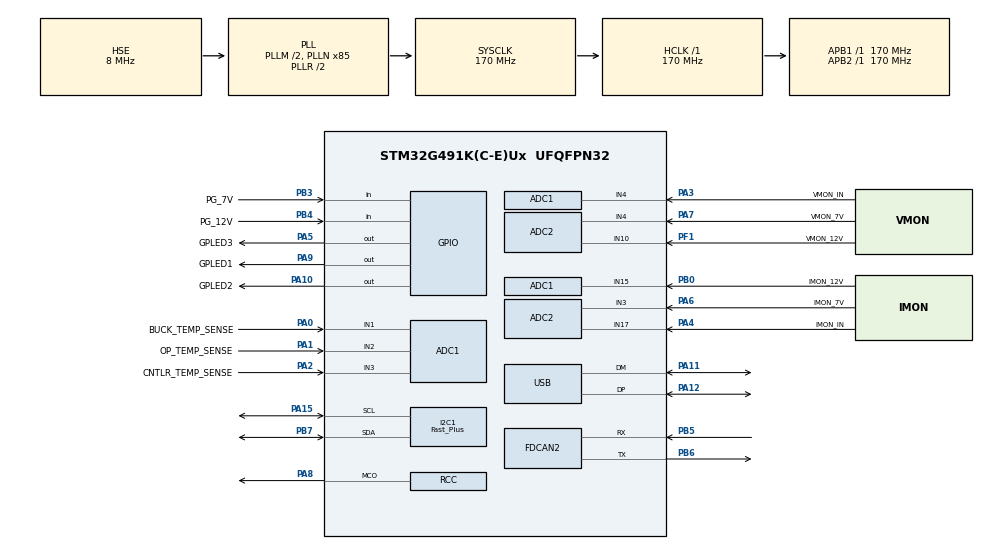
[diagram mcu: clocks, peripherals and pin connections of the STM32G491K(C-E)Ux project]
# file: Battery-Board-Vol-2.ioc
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ADC1.Channel-0\#ChannelRegularConversion=ADC_CHANNEL_1
ADC1.Channel-1\#ChannelRegularConversion=ADC_CHANNEL_3
ADC1.Channel-2\#ChannelRegularConversion=ADC_CHANNEL_15
ADC1.Channel-6\#ChannelRegularConversion=ADC_CHANNEL_4
ADC1.Channel-7\#ChannelRegularConversion=ADC_CHANNEL_15
ADC1.ClockPrescaler=ADC_CLOCK_ASYNC_DIV16
ADC1.ContinuousConvMode=ENABLE
ADC1.DMAContinuousRequests=ENABLE
ADC1.EOCSelection=ADC_EOC_SEQ_CONV
ADC1.NbrOfConversion=5
ADC1.NbrOfConversionFlag=1
ADC1.OffsetNumber-0\#ChannelRegularConversion=ADC_OFFSET_NONE
ADC1.OffsetNumber-1\#ChannelRegularConversion=ADC_OFFSET_NONE
ADC1.OffsetNumber-2\#ChannelRegularConversion=ADC_OFFSET_NONE
ADC1.OffsetNumber-6\#ChannelRegularConversion=ADC_OFFSET_NONE
ADC1.OffsetNumber-7\#ChannelRegularConversion=ADC_OFFSET_NONE
ADC1.Overrun=ADC_OVR_DATA_OVERWRITTEN
ADC1.Rank-0\#ChannelRegularConversion=1
ADC1.Rank-1\#ChannelRegularConversion=2
ADC1.Rank-2\#ChannelRegularConversion=3
ADC1.Rank-6\#ChannelRegularConversion=4
ADC1.Rank-7\#ChannelRegularConversion=5
ADC1.SamplingTime-0\#ChannelRegularConversion=ADC_SAMPLETIME_2CYCLES_5
ADC1.SamplingTime-1\#ChannelRegularConversion=ADC_SAMPLETIME_2CYCLES_5
ADC1.SamplingTime-2\#ChannelRegularConversion=ADC_SAMPLETIME_2CYCLES_5
ADC1.SamplingTime-6\#ChannelRegularConversion=ADC_SAMPLETIME_2CYCLES_5
ADC1.SamplingTime-7\#ChannelRegularConversion=ADC_SAMPLETIME_2CYCLES_5
ADC1.master=1
ADC2.Channel-0\#ChannelRegularConversion=ADC_CHANNEL_3
ADC2.Channel-1\#ChannelRegularConversion=ADC_CHANNEL_4
ADC2.Channel-2\#ChannelRegularConversion=ADC_CHANNEL_10
ADC2.Channel-3\#ChannelRegularConversion=ADC_CHANNEL_17
ADC2.ClockPrescaler=ADC_CLOCK_ASYNC_DIV16
ADC2.ContinuousConvMode=ENABLE
ADC2.DMAContinuousRequests=ENABLE
ADC2.EOCSelection=ADC_EOC_SEQ_CONV
ADC2.NbrOfConversion=4
ADC2.NbrOfConversionFlag=1
ADC2.OffsetNumber-0\#ChannelRegularConversion=ADC_OFFSET_NONE
ADC2.OffsetNumber-1\#ChannelRegularConversion=ADC_OFFSET_NONE
ADC2.OffsetNumber-2\#ChannelRegularConversion=ADC_OFFSET_NONE
ADC2.OffsetNumber-3\#ChannelRegularConversion=ADC_OFFSET_NONE
ADC2.Overrun=ADC_OVR_DATA_OVERWRITTEN
ADC2.Rank-0\#ChannelRegularConversion=1
ADC2.Rank-1\#ChannelRegularConversion=2
ADC2.Rank-2\#ChannelRegularConversion=3
ADC2.Rank-3\#ChannelRegularConversion=4
ADC2.SamplingTime-0\#ChannelRegularConversion=ADC_SAMPLETIME_2CYCLES_5
ADC2.SamplingTime-1\#ChannelRegularConversion=ADC_SAMPLETIME_2CYCLES_5
ADC2.SamplingTime-2\#ChannelRegularConversion=ADC_SAMPLETIME_2CYCLES_5
ADC2.SamplingTime-3\#ChannelRegularConversion=ADC_SAMPLETIME_2CYCLES_5
Dma.ADC1.0.Direction=DMA_PERIPH_TO_MEMORY
Dma.ADC1.0.EventEnable=DISABLE
Dma.ADC1.0.Instance=DMA1_Channel1
Dma.ADC1.0.MemDataAlignment=DMA_MDATAALIGN_WORD
Dma.ADC1.0.MemInc=DMA_MINC_ENABLE
Dma.ADC1.0.Mode=DMA_CIRCULAR
Dma.ADC1.0.PeriphDataAlignment=DMA_PDATAALIGN_WORD
Dma.ADC1.0.PeriphInc=DMA_PINC_DISABLE
Dma.ADC1.0.Polarity=HAL_DMAMUX_REQ_GEN_RISING
Dma.ADC1.0.Priority=DMA_PRIORITY_LOW
Dma.ADC1.0.RequestNumber=1
Dma.ADC1.0.SignalID=NONE
Dma.ADC1.0.SyncEnable=DISABLE
Dma.ADC1.0.SyncPolarity=HAL_DMAMUX_SYNC_NO_EVENT
Dma.ADC1.0.SyncRequestNumber=1
Dma.ADC1.0.SyncSignalID=NONE
Dma.ADC2.1.Direction=DMA_PERIPH_TO_MEMORY
Dma.ADC2.1.EventEnable=DISABLE
Dma.ADC2.1.Instance=DMA1_Channel2
Dma.ADC2.1.MemDataAlignment=DMA_MDATAALIGN_WORD
Dma.ADC2.1.MemInc=DMA_MINC_ENABLE
Dma.ADC2.1.Mode=DMA_CIRCULAR
Dma.ADC2.1.PeriphDataAlignment=DMA_PDATAALIGN_WORD
Dma.ADC2.1.PeriphInc=DMA_PINC_DISABLE
Dma.ADC2.1.Polarity=HAL_DMAMUX_REQ_GEN_RISING
Dma.ADC2.1.Priority=DMA_PRIORITY_LOW
Dma.ADC2.1.RequestNumber=1
Dma.ADC2.1.SignalID=NONE
Dma.ADC2.1.SyncEnable=DISABLE
Dma.ADC2.1.SyncPolarity=HAL_DMAMUX_SYNC_NO_EVENT
Dma.ADC2.1.SyncRequestNumber=1
Dma.ADC2.1.SyncSignalID=NONE
Dma.Request0=ADC1
Dma.Request1=ADC2
FDCAN2.CalculateBaudRateNominal=1000000
FDCAN2.CalculateTimeBitNominal=1000
FDCAN2.CalculateTimeQuantumNominal=125.0
FDCAN2.DataTimeSeg2=2
FDCAN2.NominalPrescaler=1
FDCAN2.NominalSyncJumpWidth=2
FDCAN2.NominalTimeSeg1=5
FDCAN2.NominalTimeSeg2=2
FDCAN2.StdFiltersNbr=1
FREERTOS.Queues01=canQueRxHeader,512,uint32_t,0,Static,canQueRXHeaderBuffer,canQueRXHeaderControlBlock;canQueRxData,512,uint8_t,0,Static,canQueRXDataBuffer,canQueRXDataControlBlock
FREERTOS.Tasks01=defaultTask,24,512,StartDefaultTask,Default,NULL,Static,defaultTaskBuffer,defaultTaskControlBlock;canReceive,32,512,StartTaskReceive,Default,NULL,Static,canReceiveBuffer,canReceiveControlBlock;canSend,25,512,StartTaskSend,Default,NULL,Static,canSendBuffer,canSendControlBlock
FREERTOS.configENABLE_FPU=1
I2C1.I2C_Speed_Mode=I2C_Fast_Plus
I2C1.Timing=0x4052060F
Mcu.Family=STM32G4
Mcu.Name=STM32G491K(C-E)Ux
Mcu.Package=UFQFPN32
NVIC.FDCAN2_IT0_IRQn=true\:5\:0\:false\:false\:true\:true\:true\:true\:true
NVIC.FDCAN2_IT1_IRQn=true\:5\:0\:false\:false\:true\:true\:true\:true\:true
NVIC.I2C1_ER_IRQn=true\:5\:0\:false\:false\:true\:true\:true\:true\:true
NVIC.I2C1_EV_IRQn=true\:5\:0\:false\:false\:true\:true\:true\:true\:true
NVIC.PriorityGroup=NVIC_PRIORITYGROUP_4
NVIC.TIM20_UP_IRQn=true\:15\:0\:false\:false\:true\:false\:false\:true\:true
NVIC.TimeBase=TIM20_UP_IRQn
NVIC.TimeBaseIP=TIM20
NVIC.USB_LP_IRQn=true\:5\:0\:false\:false\:true\:true\:false\:true\:true
PA0.GPIO_Label=BUCK_TEMP_SENSE
PA0.Mode=IN1-Single-Ended
PA0.Signal=ADC1_IN1
PA1.GPIO_Label=OP_TEMP_SENSE
PA1.Mode=IN2-Single-Ended
PA1.Signal=ADC1_IN2
PA10.GPIO_Label=GPLED2
PA10.Signal=GPIO_Output
PA11.Mode=Device
PA11.Signal=USB_DM
PA12.Mode=Device
PA12.Signal=USB_DP
PA13.Mode=Serial_Wire
PA13.Signal=SYS_JTMS-SWDIO
PA14.Mode=Serial_Wire
PA14.Signal=SYS_JTCK-SWCLK
PA15.Mode=I2C
PA15.Signal=I2C1_SCL
PA2.GPIO_Label=CNTLR_TEMP_SENSE
PA2.Mode=IN3-Single-Ended
PA2.Signal=ADC1_IN3
PA3.GPIO_Label=VMON_IN
PA3.Mode=IN4-Single-Ended
PA3.Signal=ADC1_IN4
PA4.GPIO_Label=IMON_IN
PA4.Mode=IN17-Single-Ended
PA4.Signal=ADC2_IN17
PA5.GPIO_Label=GPLED3
PA5.Signal=GPIO_Output
PA6.GPIO_Label=IMON_7V
PA6.Mode=IN3-Single-Ended
PA6.Signal=ADC2_IN3
PA7.GPIO_Label=VMON_7V
PA7.Mode=IN4-Single-Ended
PA7.Signal=ADC2_IN4
PA8.Mode=Clock-out
PA8.Signal=RCC_MCO
PA9.GPIO_Label=GPLED1
PA9.Signal=GPIO_Output
PB0.GPIO_Label=IMON_12V
PB0.Mode=IN15-Single-Ended
PB0.Signal=ADC1_IN15
PB3.GPIO_Label=PG_7V
PB3.Signal=GPIO_Input
PB4.GPIO_Label=PG_12V
PB4.Signal=GPIO_Input
PB5.GPIO_PuPd=GPIO_PULLUP
PB5.Mode=FDCAN_Activate
PB5.Signal=FDCAN2_RX
PB6.Mode=FDCAN_Activate
PB6.Signal=FDCAN2_TX
PB7.Mode=I2C
PB7.Signal=I2C1_SDA
PF0-OSC_IN.Mode=HSE-External-Clock-Source
PF0-OSC_IN.Signal=RCC_OSC_IN
PF1-OSC_OUT.GPIO_Label=VMON_12V
PF1-OSC_OUT.Mode=IN10-Single-Ended
PF1-OSC_OUT.Signal=ADC2_IN10
ProjectManager.HeapSize=0x200
ProjectManager.StackSize=0x400
ProjectManager.TargetToolchain=STM32CubeIDE
RCC.ADC12Freq_Value=170000000
RCC.ADC345Freq_Value=170000000
RCC.AHBFreq_Value=170000000
RCC.APB1Freq_Value=170000000
RCC.APB1TimFreq_Value=170000000
RCC.APB2Freq_Value=170000000
RCC.APB2TimFreq_Value=170000000
RCC.CortexFreq_Value=170000000
RCC.EXTERNAL_CLOCK_VALUE=12288000
RCC.FDCANCLockSelection=RCC_FDCANCLKSOURCE_HSE
RCC.HCLKFreq_Value=170000000
RCC.HSE_VALUE=8000000
RCC.HSI48_VALUE=48000000
RCC.HSI_VALUE=16000000
RCC.LSE_VALUE=32768
RCC.LockedElements=AHBOutput
RCC.PLLM=RCC_PLLM_DIV2
RCC.PLLN=85
RCC.PLLSourceVirtual=RCC_PLLSOURCE_HSE
RCC.SYSCLKFreq_VALUE=170000000
RCC.SYSCLKSource=RCC_SYSCLKSOURCE_PLLCLK
RCC.VCOOutputFreq_Value=340000000
USB_DEVICE.CLASS_NAME_FS=CDC
USB_DEVICE.VirtualMode=Cdc
USB_DEVICE.VirtualModeFS=Cdc_FS
VP_FREERTOS_VS_CMSIS_V2.Mode=CMSIS_V2
VP_SYS_VS_DBSignals.Mode=DisableDeadBatterySignals
VP_SYS_VS_tim20.Mode=TIM20
VP_USB_DEVICE_VS_USB_DEVICE_CDC_FS.Mode=CDC_FS
board=custom

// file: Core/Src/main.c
/* USER CODE BEGIN Header */
/**
 ******************************************************************************
 * @file           : main.c
 * @brief          : Main program body
 ******************************************************************************
 * @attention
 *
 * Copyright (c) 2025 STMicroelectronics.
 * All rights reserved.
 *
 * This software is licensed under terms that can be found in the LICENSE file
 * in the root directory of this software component.
 * If no LICENSE file comes with this software, it is provided AS-IS.
 *
 ******************************************************************************
 */
/* USER CODE END Header */
#include "main.h"
#include "cmsis_os.h"
#include "adc.h"
#include "dma.h"
#include "fdcan.h"
#include "i2c.h"
#include "gpio.h"

/* USER CODE BEGIN Includes */

#include "ssd1306.h"
#include "ssd1306_tests.h"
#include "ssd1306_fonts.h"
#include "ecocar_can.h"
//#include "usb_device.h"  // Add this line to include the USB device header
//#include "usbd_cdc_if.h" // Add this line to include the USB device header
#include <string.h>
#include <stdbool.h>
/* USER CODE END Includes */

void SystemClock_Config(void);
void MX_FREERTOS_Init(void);

int main(void)
{

  /* MCU Configuration--------------------------------------------------------*/

  /* Reset of all peripherals, Initializes the Flash interface and the Systick. */
  HAL_Init();

  /* Configure the system clock */
  SystemClock_Config();

  /* Initialize all configured peripherals */
  MX_GPIO_Init();
  MX_DMA_Init();
  MX_ADC1_Init();
  MX_ADC2_Init();
  MX_FDCAN2_Init();
  MX_I2C1_Init();

  /* Init scheduler */
  osKernelInitialize();

  /* Call init function for freertos objects (in cmsis_os2.c) */
  MX_FREERTOS_Init();

  /* Start scheduler */
  osKernelStart();

  /* We should never get here as control is now taken by the scheduler */

  /* Infinite loop */
	while (1) {

	}
}

void SystemClock_Config(void)
{
  RCC_OscInitTypeDef RCC_OscInitStruct = {0};
  RCC_ClkInitTypeDef RCC_ClkInitStruct = {0};

  /** Configure the main internal regulator output voltage
  */
  HAL_PWREx_ControlVoltageScaling(PWR_REGULATOR_VOLTAGE_SCALE1_BOOST);

  /** Initializes the RCC Oscillators according to the specified parameters
  * in the RCC_OscInitTypeDef structure.
  */
  RCC_OscInitStruct.OscillatorType = RCC_OSCILLATORTYPE_HSI|RCC_OSCILLATORTYPE_HSE;
  RCC_OscInitStruct.HSEState = RCC_HSE_BYPASS;
  RCC_OscInitStruct.HSIState = RCC_HSI_ON;
  RCC_OscInitStruct.HSICalibrationValue = RCC_HSICALIBRATION_DEFAULT;
  RCC_OscInitStruct.PLL.PLLState = RCC_PLL_ON;
  RCC_OscInitStruct.PLL.PLLSource = RCC_PLLSOURCE_HSE;
  RCC_OscInitStruct.PLL.PLLM = RCC_PLLM_DIV2;
  RCC_OscInitStruct.PLL.PLLN = 85;
  RCC_OscInitStruct.PLL.PLLP = RCC_PLLP_DIV2;
  RCC_OscInitStruct.PLL.PLLQ = RCC_PLLQ_DIV2;
  RCC_OscInitStruct.PLL.PLLR = RCC_PLLR_DIV2;
  if (HAL_RCC_OscConfig(&RCC_OscInitStruct) != HAL_OK)
  {
    Error_Handler();
  }

  /** Initializes the CPU, AHB and APB buses clocks
  */
  RCC_ClkInitStruct.ClockType = RCC_CLOCKTYPE_HCLK|RCC_CLOCKTYPE_SYSCLK
                              |RCC_CLOCKTYPE_PCLK1|RCC_CLOCKTYPE_PCLK2;
  RCC_ClkInitStruct.SYSCLKSource = RCC_SYSCLKSOURCE_PLLCLK;
  RCC_ClkInitStruct.AHBCLKDivider = RCC_SYSCLK_DIV1;
  RCC_ClkInitStruct.APB1CLKDivider = RCC_HCLK_DIV1;
  RCC_ClkInitStruct.APB2CLKDivider = RCC_HCLK_DIV1;

  if (HAL_RCC_ClockConfig(&RCC_ClkInitStruct, FLASH_LATENCY_4) != HAL_OK)
  {
    Error_Handler();
  }
  HAL_RCC_MCOConfig(RCC_MCO1, RCC_MCO1SOURCE_HSI, RCC_MCODIV_1);
}

void HAL_TIM_PeriodElapsedCallback(TIM_HandleTypeDef *htim)
{
  if (htim->Instance == TIM20) {
    HAL_IncTick();
  }
}

void Error_Handler(void)
{
	__disable_irq();
	while (1) {
	}
}

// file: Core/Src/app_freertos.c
/* USER CODE BEGIN Header */
/**
 ******************************************************************************
 * File Name          : app_freertos.c
 * Description        : Code for freertos applications
 ******************************************************************************
 * @attention
 *
 * Copyright (c) 2025 STMicroelectronics.
 * All rights reserved.
 *
 * This software is licensed under terms that can be found in the LICENSE file
 * in the root directory of this software component.
 * If no LICENSE file comes with this software, it is provided AS-IS.
 *
 ******************************************************************************
 */
/* USER CODE END Header */

#include "FreeRTOS.h"
#include "task.h"
#include "main.h"
#include "cmsis_os.h"

/* USER CODE BEGIN Includes */
#include "adc.h"
#include "ssd1306.h"
#include "ssd1306_tests.h"
#include "ssd1306_fonts.h"
#include "ecocar_can.h"
#include "i2c.h"
//#include "usb_device.h"  // Add this line to include the USB device header
//#include "usbd_cdc_if.h" // Add this line to include the USB device header
#include <string.h>
#include <stdbool.h>
#include <stdio.h>

/* USER CODE END Includes */

typedef StaticTask_t osStaticThreadDef_t;
typedef StaticQueue_t osStaticMessageQDef_t;

/* USER CODE BEGIN Variables */
uint32_t adc1_results[5] = { 0 };
uint32_t adc2_results[4] = { 0 };
const float RESOLUTION = 4096.0;
const float ref_voltage = 3.3;
int h2_state = 0;

/* USER CODE END Variables */
/* Definitions for defaultTask */
osThreadId_t defaultTaskHandle;
uint32_t defaultTaskBuffer[ 1024 ];
osStaticThreadDef_t defaultTaskControlBlock;
const osThreadAttr_t defaultTask_attributes = {
  .name = "defaultTask",
  .stack_mem = &defaultTaskBuffer[0],
  .stack_size = sizeof(defaultTaskBuffer),
  .cb_mem = &defaultTaskControlBlock,
  .cb_size = sizeof(defaultTaskControlBlock),
  .priority = (osPriority_t) osPriorityNormal,
};
/* Definitions for canReceive */
osThreadId_t canReceiveHandle;
uint32_t canReceiveBuffer[ 512 ];
osStaticThreadDef_t canReceiveControlBlock;
const osThreadAttr_t canReceive_attributes = {
  .name = "canReceive",
  .stack_mem = &canReceiveBuffer[0],
  .stack_size = sizeof(canReceiveBuffer),
  .cb_mem = &canReceiveControlBlock,
  .cb_size = sizeof(canReceiveControlBlock),
  .priority = (osPriority_t) osPriorityAboveNormal,
};
/* Definitions for canSend */
osThreadId_t canSendHandle;
uint32_t canSendBuffer[ 512 ];
osStaticThreadDef_t canSendControlBlock;
const osThreadAttr_t canSend_attributes = {
  .name = "canSend",
  .stack_mem = &canSendBuffer[0],
  .stack_size = sizeof(canSendBuffer),
  .cb_mem = &canSendControlBlock,
  .cb_size = sizeof(canSendControlBlock),
  .priority = (osPriority_t) osPriorityNormal1,
};
/* Definitions for canQueRxHeader */
osMessageQueueId_t canQueRxHeaderHandle;
uint8_t canQueRXHeaderBuffer[ 512 * sizeof( uint32_t ) ];
osStaticMessageQDef_t canQueRXHeaderControlBlock;
const osMessageQueueAttr_t canQueRxHeader_attributes = {
  .name = "canQueRxHeader",
  .cb_mem = &canQueRXHeaderControlBlock,
  .cb_size = sizeof(canQueRXHeaderControlBlock),
  .mq_mem = &canQueRXHeaderBuffer,
  .mq_size = sizeof(canQueRXHeaderBuffer)
};
/* Definitions for canQueRxData */
osMessageQueueId_t canQueRxDataHandle;
uint8_t canQueRXDataBuffer[ 512 * sizeof( uint8_t ) ];
osStaticMessageQDef_t canQueRXDataControlBlock;
const osMessageQueueAttr_t canQueRxData_attributes = {
  .name = "canQueRxData",
  .cb_mem = &canQueRXDataControlBlock,
  .cb_size = sizeof(canQueRXDataControlBlock),
  .mq_mem = &canQueRXDataBuffer,
  .mq_size = sizeof(canQueRXDataBuffer)
};

/* USER CODE BEGIN FunctionPrototypes */
void HAL_FDCAN_RxFifo0Callback(FDCAN_HandleTypeDef *hfdcan, uint32_t RxFifo0ITs) {
	FDCAN_RxHeaderTypeDef RxHeader;
	uint8_t RxData[64];
	if ((RxFifo0ITs & FDCAN_IT_RX_FIFO0_NEW_MESSAGE) != RESET) {
		/* Retrieve Rx messages from RX FIFO0 */
		if (HAL_FDCAN_GetRxMessage(hfdcan, FDCAN_RX_FIFO0, &RxHeader, RxData)
				!= HAL_OK) {
			/* Reception Error */
			Error_Handler();
		}
		if (osMessageQueuePut(canQueRxHeaderHandle, &RxHeader.Identifier, 0, 0)
				!= osOK
				|| osMessageQueuePut(canQueRxHeaderHandle, &RxHeader.DataLength,
						0, 0) != osOK) {
			Error_Handler();
		}
		for (uint32_t i = 0; i < mapDlcToBytes(RxHeader.DataLength); i++) {
			if (osMessageQueuePut(canQueRxDataHandle, &RxData[i], 0, 0)
					!= osOK) {
				Error_Handler();
			}
		}
	}
}
/* USER CODE END FunctionPrototypes */

void StartDefaultTask(void *argument);
void StartTaskReceive(void *argument);
void StartTaskSend(void *argument);

void MX_FREERTOS_Init(void); /* (MISRA C 2004 rule 8.1) */

void MX_FREERTOS_Init(void) {

  /* Create the queue(s) */
  /* creation of canQueRxHeader */
  canQueRxHeaderHandle = osMessageQueueNew (512, sizeof(uint32_t), &canQueRxHeader_attributes);

  /* creation of canQueRxData */
  canQueRxDataHandle = osMessageQueueNew (512, sizeof(uint8_t), &canQueRxData_attributes);

  /* Create the thread(s) */
  /* creation of defaultTask */
  defaultTaskHandle = osThreadNew(StartDefaultTask, NULL, &defaultTask_attributes);

  /* creation of canReceive */
  canReceiveHandle = osThreadNew(StartTaskReceive, NULL, &canReceive_attributes);

  /* creation of canSend */
  canSendHandle = osThreadNew(StartTaskSend, NULL, &canSend_attributes);

}

void StartDefaultTask(void *argument)
{
  /* init code for USB_Device */
  MX_USB_Device_Init();
  /* USER CODE BEGIN StartDefaultTask */
	/* Infinite loop */

	// Calibrate and start the leds

	HAL_ADCEx_Calibration_Start(&hadc1, ADC_SINGLE_ENDED);
	HAL_ADC_Start_DMA(&hadc1, &adc1_results, 5);

	HAL_ADCEx_Calibration_Start(&hadc2, ADC_SINGLE_ENDED);
	HAL_ADC_Start_DMA(&hadc2, &adc2_results, 4);

	// Init the screen
	ssd1306_Init();
	//Temperature sensors data
	struct TemperatureSensor {
		float voltage;
		float temperature;
	};
	//initialize each temperature sensors
	struct TemperatureSensor Buc;
	struct TemperatureSensor Op;
	struct TemperatureSensor Cntrl;
	float Battery_Input_Voltage;
	float Battery_Input_Current;
	float Volt_Output_12V;
	float Curr_Output_12V;
	float Volt_Output_7V;
	float Curr_Output_7V;

	for (;;) {

		 Buc.voltage = ((adc1_results[0] * ref_voltage) / RESOLUTION) +0.193;  //buc voltage
		 Op.voltage  = ((adc1_results[1] * ref_voltage) /  RESOLUTION) +0.13; //op voltage
		 Cntrl.voltage = (((adc1_results[2] * ref_voltage) / RESOLUTION)+0.23); //cntrl voltage
		 Battery_Input_Voltage = adc1_results[3] * ref_voltage / RESOLUTION / 0.0909 ; // VOltage divider: R2 = 4.7k R1 = 47K
		 Battery_Input_Current = (adc2_results[3] * ref_voltage / RESOLUTION - 2.5) / 0.400;
		 Volt_Output_12V = (adc2_results[2] * ref_voltage / RESOLUTION) / 0.2655; // Voltage Divider R2: 4.7k R1 = 13k
		 Curr_Output_12V = (adc1_results[4] * ref_voltage / RESOLUTION - 2.5) / 0.400;
		 Volt_Output_7V =  (adc2_results[1] * ref_voltage / RESOLUTION) / (4.7/17.7); // VOltage Divider R2:4.7k R1: 13k
		 Curr_Output_7V =  (adc2_results[0] * ref_voltage / RESOLUTION - 2.5) / 0.400; // VOltage Divider R2:4.7k R1: 13k

		Buc.temperature = (Buc.voltage - 0.5) / 0.01;  //buc temp
		Op.temperature =  (Op.voltage - 0.5) /  0.01;  //op temp
		Cntrl.temperature = (Cntrl.voltage - 0.5) / 0.01; //cntrl temp
		float Batt_Input = Battery_Input_Voltage ; // Batter Input Volt
		float Batt_Current = Battery_Input_Current ; // Battery Input Current
		float Output_12V = Volt_Output_12V ; // 12 Volt Output
		float Output_12V_Curr = Curr_Output_12V ;
		float Output_7V = Volt_Output_7V ; // 7 Volt Output
		float Output_7V_Curr = Curr_Output_7V ;

	    printf(
	             "BATT CURR: %.2f BATT VOLT: %.3f 12V VOLT: %.2f 12V CURR: %.2f 7V VOLT: %.2f 7V CURR: %.2f \r\n",
				 Batt_Input,
				 Batt_Current,
				 Output_12V,
				 Output_12V_Curr,
				 Output_7V,
				 Output_7V_Curr

	    );
	    char common_buffer[64] = {0};

		//char batt_volt[100];
		//char batt_current[100];
		//char output_12V [100];
		//char output_curr_12V [100];
		//char output_7V [100];
		//char output_curr_7V [100];
		//char buc_temp_V[100];
		//char op_temp_V[100];
		//char cntrl_temp_V[100];
/*
		sprintf(buc_temp, "BUCK T:%.2f C", Buc_temp); //
		sprintf(op_temp, "OP T: %.2f C", Op_temp);
		sprintf(cntrl_temp, "CNTRL T: %.2f C", Cntrl_temp);
		sprintf(batt_volt, "Batt Volt: %.2f V", Batt_Input);
		sprintf(batt_current, "Batt Curr: %.2f A", Batt_Current);
		sprintf(output_12V, "12V Out: %.2f V", Output_12V);
		sprintf(output_curr_12V, "12V Out: %.2f A", Output_12V_Curr);
		sprintf(output_7V, "7V Out: %.2f V", Output_7V);
		sprintf(output_curr_7V, "7V Out: %.2f A", Output_7V_Curr);
		sprintf(buc_temp_V, "BUCK V:%.2f V", Buc_temp_sense_Voltage);
		sprintf(op_temp_V, "OP V: %.2f V", Op_temp_sense_Voltage);
		sprintf(cntrl_temp_V, "CNTRL V: %.2f V", Cntrl_temp_sense_Voltage);
*/
		sprintf(common_buffer,"BUCK T:%.2f C", Buc.temperature ); //buck temp
		ssd1306_SetCursor(2, 0);
		ssd1306_WriteString(common_buffer, Font_6x8 , White);

		ssd1306_SetCursor(2, 10);
		sprintf(common_buffer,"OP T: %.2f C", Op.temperature);  //cntrl temp
		ssd1306_WriteString(common_buffer, Font_6x8, White);

		ssd1306_SetCursor(2, 20);
		sprintf(common_buffer,"CNTRL T: %.2f C", Cntrl.temperature);  //cntrl temp
		ssd1306_WriteString(common_buffer, Font_6x8, White);

		ssd1306_SetCursor(2, 30);
		sprintf(common_buffer,"Batt Volt: %.2f V", Batt_Input );
		ssd1306_WriteString(common_buffer, Font_6x8, White);

		ssd1306_SetCursor(2, 40);
		sprintf(common_buffer, "Batt Curr: %.2f A", Batt_Current);
		ssd1306_WriteString(common_buffer, Font_6x8, White);

		if (h2_state == 1) {
			//ssd1306_Reset();
		char h2_alarm_message[64] = {0};
		sprintf(h2_alarm_message, "H2 TRIGGERED");
		ssd1306_SetCursor(2, 20);
		ssd1306_WriteString(h2_alarm_message, Font_16x15, 1);

		}

		ssd1306_UpdateScreen();
		osDelay(1);
	}
  /* USER CODE END StartDefaultTask */
}

void StartTaskReceive(void *argument)
{
  /* USER CODE BEGIN StartTaskReceive */
	FDCAN_RxHeaderTypeDef localRxHeader = { 0 };
	uint8_t ret[64] = { 0 };

	for (;;) {
		if (osMessageQueueGet(canQueRxHeaderHandle, &localRxHeader.Identifier,
				0,
				osWaitForever) == osOK) {

			if (osMessageQueueGet(canQueRxHeaderHandle,
					&localRxHeader.DataLength, 0, 0) != osOK) {
				Error_Handler();
			}

			for (uint8_t i = 0; i < mapDlcToBytes(localRxHeader.DataLength);
					i++) {
				if (osMessageQueueGet(canQueRxDataHandle, &ret[i], 0, 0)
						!= osOK) {
					Error_Handler();
				}
			}

			switch (localRxHeader.Identifier) {
			case FDCAN_H2ALARM_ID:
				// H2 ALARM
				if (ret[0] == 1) {
					h2_state = 1;
					// Do something?
				}
				break;
			case FDCAN_SYNCLED_ID:
				// CAN SYNC LED
				//HAL_GPIO_WritePin(GPLED1_GPIO_Port, GPLED1_Pin, ret[0] ? GPIO_PIN_SET : GPIO_PIN_RESET);
				HAL_GPIO_WritePin(GPLED2_GPIO_Port, GPLED2_Pin, ret[0] ? GPIO_PIN_SET : GPIO_PIN_RESET);
				//HAL_GPIO_WritePin(GPLED3_GPIO_Port, GPLED3_Pin, ret[0] ? GPIO_PIN_SET : GPIO_PIN_RESET);
			default:
				//log_info("Received CANID 0x%x but did nothing with it!",
				//		localRxHeader.Identifier);
				break;
			}

		} else {
			//log_err("Something strange is happening!");
		}
	}
  /* USER CODE END StartTaskReceive */
}

void StartTaskSend(void *argument)
{
  /* USER CODE BEGIN StartTaskSend */

	UNUSED(argument);
	FDCAN_TxHeaderTypeDef localTxHeader;
	const uint8_t msg_delay = 100;

	localTxHeader.IdType = FDCAN_STANDARD_ID;
	localTxHeader.TxFrameType = FDCAN_DATA_FRAME;
	localTxHeader.ErrorStateIndicator = FDCAN_ESI_ACTIVE;
	localTxHeader.BitRateSwitch = FDCAN_BRS_ON;
	localTxHeader.FDFormat = FDCAN_CLASSIC_CAN;
	localTxHeader.TxEventFifoControl = FDCAN_NO_TX_EVENTS;
	localTxHeader.MessageMarker = 0;
	/* Infinite loop */
	for (;;) {
		// Transmit boost data
//		localTxHeader.Identifier = FDCAN_BOOSTPACK_ID;
//		localTxHeader.DataLength = FDCAN_DLC_BYTES_8;
//		if (HAL_FDCAN_GetTxFifoFreeLevel(&hfdcan2) != 0) {
//			if (HAL_FDCAN_AddMessageToTxFifoQ(&hfdcan2, &localTxHeader,
//					(uint8_t*) &boost_data.FDCAN_RawBOOSTPack) != HAL_OK) {
//				Error_Handler();
//			}
//		} //else {
		  //log_warn("Tx Buffer Full");
		  //}

//		localTxHeader.Identifier = FDCAN_BOOSTPACK2_ID;
//		localTxHeader.DataLength = FDCAN_DLC_BYTES_8;
//		if (HAL_FDCAN_GetTxFifoFreeLevel(&hfdcan2) != 0) {
//			if (HAL_FDCAN_AddMessageToTxFifoQ(&hfdcan2, &localTxHeader,
//					(uint8_t*) &boost_data2.FDCAN_RawBOOSTPack2) != HAL_OK) {
//				Error_Handler();
//			}
//		} //else {
//		  //log_warn("Tx Buffer Full");
//		  //}

		osDelay(1);
	}
  /* USER CODE END StartTaskSend */
}
